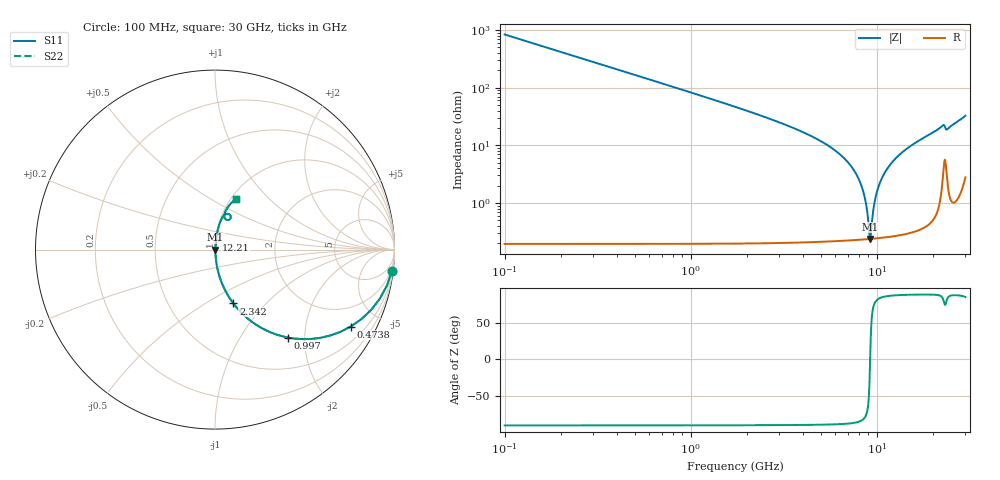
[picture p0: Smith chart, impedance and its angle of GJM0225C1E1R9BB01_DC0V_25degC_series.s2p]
!Murata Part Number: GJM0225C1E1R9BB01
!These Parameters are Measured in Series Mode Connection
!  o--ll--o
!Port1  Port2
!  o------o
!Operation Temp=25[degC], DC Bias Voltage=0[V]
!Freq. Start=100[MHz] Stop=30[GHz], 401[Steps]
!Data Generated on Feb 1, 2023
# Hz S RI R 50
!Freq.(Hz) S11(Real) S11(Imag) S21(Real) S21(Imag) S12(Real) S12(Imag) S22(Real) S22(Imag)
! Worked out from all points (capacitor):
!   401 points, 100 MHz to 30 GHz, reference 50 ohm
!   read as one part in series: C = 1.9 pF near 249.5 MHz
!   lowest |Z| = 238 mohm at 9.22 GHz (marker M1)
!   series resonance near 9.228 GHz, so ESL is about 160 pH
!   S11 on the Smith chart (normalised r, x): 100 MHz: 1, -17; 473.8 MHz: 1.00, -3.53; 997 MHz: 1.00, -1.66; 2.342 GHz: 1.00, -0.67; 12.21 GHz: 1.01, +0.10; 30 GHz: 1.06, +0.65
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1e8  0.9859 -0.1177  0.0141 0.1177  0.0141 0.1177  0.9859 -0.1177
4.7375e8  0.7564 -0.4287  0.2436 0.4287  0.2436 0.4287  0.7564 -0.4287
9.97e8  0.4084 -0.4904  0.5916 0.4904  0.5916 0.4904  0.4084 -0.4904
1.595e9  0.207 -0.4033  0.793 0.4033  0.793 0.4033  0.207 -0.4033
2.3425e9  0.1021 -0.2999  0.8979 0.2999  0.8979 0.2999  0.1021 -0.2999
5.10825e9  0.0149 -0.112  0.9851 0.112  0.9851 0.112  0.0149 -0.112
6.90225e9  0.00507 -0.0533  0.9949 0.0533  0.9949 0.0533  0.00507 -0.0533
8.0235e9  0.00294 -0.0255  0.9971 0.0255  0.9971 0.0255  0.00294 -0.0255
8.6215e9  0.00248 -0.0124  0.9975 0.0124  0.9975 0.0124  0.00248 -0.0124
9.14475e9  0.00237 -0.00164  0.9976 0.00164  0.9976 0.00164  0.00237 -0.00164
9.2195e9  0.00237 -0.000159  0.9976 0.000159  0.9976 0.000159  0.00237 -0.000159
9.369e9  0.00239 0.00277  0.9976 -0.00277  0.9976 -0.00277  0.00239 0.00277
9.74275e9  0.00251 0.0099  0.9975 -0.0099  0.9975 -0.0099  0.00251 0.0099
1.01165e10  0.00272 0.0168  0.9973 -0.0168  0.9973 -0.0168  0.00272 0.0168
1.093875e10  0.00348 0.0312  0.9965 -0.0312  0.9965 -0.0312  0.00348 0.0312
1.22095e10  0.00532 0.0519  0.9947 -0.0519  0.9947 -0.0519  0.00532 0.0519
1.505e10  0.0118 0.0934  0.9882 -0.0934  0.9882 -0.0934  0.0118 0.0934
2.005825e10  0.0317 0.1609  0.9683 -0.1609  0.9683 -0.1609  0.0317 0.1609
2.274925e10  0.0721 0.1992  0.9279 -0.1992  0.9279 -0.1992  0.0721 0.1992
2.3721e10  0.0634 0.1666  0.9366 -0.1666  0.9366 -0.1666  0.0634 0.1666
2.50665e10  0.0538 0.2013  0.9462 -0.2013  0.9462 -0.2013  0.0538 0.2013
3e10  0.1155 0.2797  0.8845 -0.2797  0.8845 -0.2797  0.1155 0.2797
